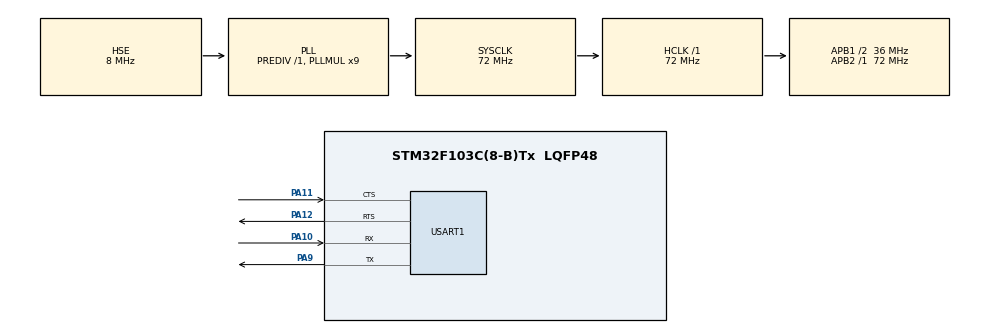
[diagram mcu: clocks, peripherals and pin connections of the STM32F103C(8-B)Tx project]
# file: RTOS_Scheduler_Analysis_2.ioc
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FREERTOS.Tasks01=TaskLow,-2,128,StartTaskLow,Default,NULL,Dynamic,NULL,NULL;TaskNormal,0,128,StartTaskNormal,Default,NULL,Dynamic,NULL,NULL;TaskHigh,2,128,StartTaskHigh,Default,NULL,Dynamic,NULL,NULL
Mcu.Family=STM32F1
Mcu.Name=STM32F103C(8-B)Tx
Mcu.Package=LQFP48
NVIC.PriorityGroup=NVIC_PRIORITYGROUP_4
PA10.Mode=Asynchronous
PA10.Signal=USART1_RX
PA11.Mode=CTS_RTS
PA11.Signal=USART1_CTS
PA12.Mode=CTS_RTS
PA12.Signal=USART1_RTS
PA9.Mode=Asynchronous
PA9.Signal=USART1_TX
PD0-OSC_IN.Mode=HSE-External-Oscillator
PD0-OSC_IN.Signal=RCC_OSC_IN
PD1-OSC_OUT.Mode=HSE-External-Oscillator
PD1-OSC_OUT.Signal=RCC_OSC_OUT
ProjectManager.HeapSize=0x200
ProjectManager.StackSize=0x400
ProjectManager.TargetToolchain=STM32CubeIDE
RCC.AHBFreq_Value=72000000
RCC.APB1CLKDivider=RCC_HCLK_DIV2
RCC.APB1Freq_Value=36000000
RCC.APB1TimFreq_Value=72000000
RCC.APB2Freq_Value=72000000
RCC.APB2TimFreq_Value=72000000
RCC.HCLKFreq_Value=72000000
RCC.PLLMUL=RCC_PLL_MUL9
RCC.PLLSourceVirtual=RCC_PLLSOURCE_HSE
RCC.SYSCLKFreq_VALUE=72000000
RCC.SYSCLKSource=RCC_SYSCLKSOURCE_PLLCLK
RCC.USBFreq_Value=72000000
USART1.VirtualMode=VM_ASYNC
VP_FREERTOS_VS_CMSIS_V1.Mode=CMSIS_V1
VP_SYS_VS_ND.Mode=No_Debug
board=custom

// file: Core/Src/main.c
/* USER CODE BEGIN Header */
/**
  ******************************************************************************
  * @file           : main.c
  * @brief          : Main program body
  ******************************************************************************
  * @attention
  *
  * Copyright (c) 2026 STMicroelectronics.
  * All rights reserved.
  *
  * This software is licensed under terms that can be found in the LICENSE file
  * in the root directory of this software component.
  * If no LICENSE file comes with this software, it is provided AS-IS.
  *
  ******************************************************************************
  */
/* USER CODE END Header */
#include "main.h"
#include "cmsis_os.h"
#include <stdio.h>
#include "freertos.h"

UART_HandleTypeDef huart1;

osThreadId TaskLowHandle;
osThreadId TaskNormalHandle;
osThreadId TaskHighHandle;
osMessageQId dataQueueHandle;

void SystemClock_Config(void);
static void MX_GPIO_Init(void);
static void MX_USART1_UART_Init(void);
void StartTaskLow(void const * argument);
void StartTaskNormal(void const * argument);
void StartTaskHigh(void const * argument);

int main(void)
{

  /* MCU Configuration--------------------------------------------------------*/

  /* Reset of all peripherals, Initializes the Flash interface and the Systick. */
  HAL_Init();

  /* Configure the system clock */
  SystemClock_Config();

  /* Initialize all configured peripherals */
  MX_GPIO_Init();
  MX_USART1_UART_Init();

  /* Create the thread(s) */
  /* definition and creation of TaskLow */
  osThreadDef(TaskLow, StartTaskLow, osPriorityLow, 0, 128);
  TaskLowHandle = osThreadCreate(osThread(TaskLow), NULL);

  /* definition and creation of TaskNormal */
  osThreadDef(TaskNormal, StartTaskNormal, osPriorityNormal, 0, 128);
  TaskNormalHandle = osThreadCreate(osThread(TaskNormal), NULL);

  /* definition and creation of TaskHigh */
  osThreadDef(TaskHigh, StartTaskHigh, osPriorityHigh, 0, 128);
  TaskHighHandle = osThreadCreate(osThread(TaskHigh), NULL);

  /* Start scheduler */
  osKernelStart();

  /* We should never get here as control is now taken by the scheduler */

  /* Infinite loop */
  while (1)
  {

  }
}

void SystemClock_Config(void)
{
  RCC_OscInitTypeDef RCC_OscInitStruct = {0};
  RCC_ClkInitTypeDef RCC_ClkInitStruct = {0};

  /** Initializes the RCC Oscillators according to the specified parameters
  * in the RCC_OscInitTypeDef structure.
  */
  RCC_OscInitStruct.OscillatorType = RCC_OSCILLATORTYPE_HSE;
  RCC_OscInitStruct.HSEState = RCC_HSE_ON;
  RCC_OscInitStruct.HSEPredivValue = RCC_HSE_PREDIV_DIV1;
  RCC_OscInitStruct.HSIState = RCC_HSI_ON;
  RCC_OscInitStruct.PLL.PLLState = RCC_PLL_ON;
  RCC_OscInitStruct.PLL.PLLSource = RCC_PLLSOURCE_HSE;
  RCC_OscInitStruct.PLL.PLLMUL = RCC_PLL_MUL9;
  if (HAL_RCC_OscConfig(&RCC_OscInitStruct) != HAL_OK)
  {
    Error_Handler();
  }

  /** Initializes the CPU, AHB and APB buses clocks
  */
  RCC_ClkInitStruct.ClockType = RCC_CLOCKTYPE_HCLK|RCC_CLOCKTYPE_SYSCLK
                              |RCC_CLOCKTYPE_PCLK1|RCC_CLOCKTYPE_PCLK2;
  RCC_ClkInitStruct.SYSCLKSource = RCC_SYSCLKSOURCE_PLLCLK;
  RCC_ClkInitStruct.AHBCLKDivider = RCC_SYSCLK_DIV1;
  RCC_ClkInitStruct.APB1CLKDivider = RCC_HCLK_DIV2;
  RCC_ClkInitStruct.APB2CLKDivider = RCC_HCLK_DIV1;

  if (HAL_RCC_ClockConfig(&RCC_ClkInitStruct, FLASH_LATENCY_2) != HAL_OK)
  {
    Error_Handler();
  }
}

static void MX_USART1_UART_Init(void)
{

  huart1.Instance = USART1;
  huart1.Init.BaudRate = 115200;
  huart1.Init.WordLength = UART_WORDLENGTH_8B;
  huart1.Init.StopBits = UART_STOPBITS_1;
  huart1.Init.Parity = UART_PARITY_NONE;
  huart1.Init.Mode = UART_MODE_TX_RX;
  huart1.Init.HwFlowCtl = UART_HWCONTROL_RTS_CTS;
  huart1.Init.OverSampling = UART_OVERSAMPLING_16;
  if (HAL_UART_Init(&huart1) != HAL_OK)
  {
    Error_Handler();
  }

}

static void MX_GPIO_Init(void)
{

  /* GPIO Ports Clock Enable */
  __HAL_RCC_GPIOD_CLK_ENABLE();
  __HAL_RCC_GPIOA_CLK_ENABLE();

}

/* USER CODE BEGIN 4 */
void MX_FREERTOS_Init(void) {
	osThreadId TaskLowHandle;
	osThreadId TaskNormalHandle;
	osThreadId TaskHighHandle;
	osMessageQId dataQueueHandle;}

/* USER CODE END 4 */

void StartTaskLow(void const * argument)
{
  /* USER CODE BEGIN 5 */
  /* Infinite loop */
	for(;;)
	{
	    static uint32_t prevTick = 0;
	    uint32_t currentTick = osKernelSysTick();
	    uint32_t delta = currentTick - prevTick;

	    printf("LOW   | Tick: %lu | Delta: %lu ms\r\n", currentTick, delta);

	    prevTick = currentTick;

	    osDelay(1000);
	}
  /* USER CODE END 5 */
}

void StartTaskNormal(void const * argument)
{
  /* USER CODE BEGIN StartTaskNormal */
  /* Infinite loop */
	for(;;)
	{
	    osEvent event;

	    event = osMessageGet(dataQueueHandle, osWaitForever);

	    if(event.status == osEventMessage)
	    {
	        uint32_t received = event.value.v;

	        printf("NORMAL received: %lu\r\n", received);
	    }
	}
  /* USER CODE END StartTaskNormal */
}

void StartTaskHigh(void const * argument)
{
  /* USER CODE BEGIN StartTaskHigh */
  /* Infinite loop */
	for(;;)
	{
	    static uint32_t counter = 0;
	    counter++;

	    if(counter % 50000 == 0)
	    {
	        printf("HIGH RUNNING: %lu\r\n", counter);
	    }

	    osDelay(1);   // 1 ms block → prevents starvation
	}
  /* USER CODE END StartTaskHigh */
}

void Error_Handler(void)
{
  __disable_irq();
  while (1)
  {
  }
}

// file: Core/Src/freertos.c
/* USER CODE BEGIN Header */
/**
  ******************************************************************************
  * File Name          : freertos.c
  * Description        : Code for freertos applications
  ******************************************************************************
  * @attention
  *
  * Copyright (c) 2026 STMicroelectronics.
  * All rights reserved.
  *
  * This software is licensed under terms that can be found in the LICENSE file
  * in the root directory of this software component.
  * If no LICENSE file comes with this software, it is provided AS-IS.
  *
  ******************************************************************************
  */
/* USER CODE END Header */

#include "FreeRTOS.h"
#include "task.h"
#include "main.h"
#include "freertos.h"
#include <stdio.h>

/* GetIdleTaskMemory prototype (linked to static allocation support) */
void vApplicationGetIdleTaskMemory( StaticTask_t **ppxIdleTaskTCBBuffer, StackType_t **ppxIdleTaskStackBuffer, uint32_t *pulIdleTaskStackSize );

/* USER CODE BEGIN GET_IDLE_TASK_MEMORY */
static StaticTask_t xIdleTaskTCBBuffer;
static StackType_t xIdleStack[configMINIMAL_STACK_SIZE];

void vApplicationGetIdleTaskMemory( StaticTask_t **ppxIdleTaskTCBBuffer, StackType_t **ppxIdleTaskStackBuffer, uint32_t *pulIdleTaskStackSize )
{
  *ppxIdleTaskTCBBuffer = &xIdleTaskTCBBuffer;
  *ppxIdleTaskStackBuffer = &xIdleStack[0];
  *pulIdleTaskStackSize = configMINIMAL_STACK_SIZE;
  /* place for user code */
}

/* USER CODE END GET_IDLE_TASK_MEMORY */

/* USER CODE BEGIN Application */
/*void StartTaskLow(void *argument){
	for(;;)
	{
	    printf("LOW Task Running\r\n");
	    osDelay(1000);
	}
}
void StartTaskNormal(void *argument){
	for(;;)
	{
	    printf("NORMAL Task Running\r\n");
	    osDelay(500);
	}
}
void StartTaskHigh(void *argument){
	for(;;)
	{
	    printf("HIGH Task Running\r\n");
	    osDelay(200);
	}
}
*/
/* USER CODE END Application */
